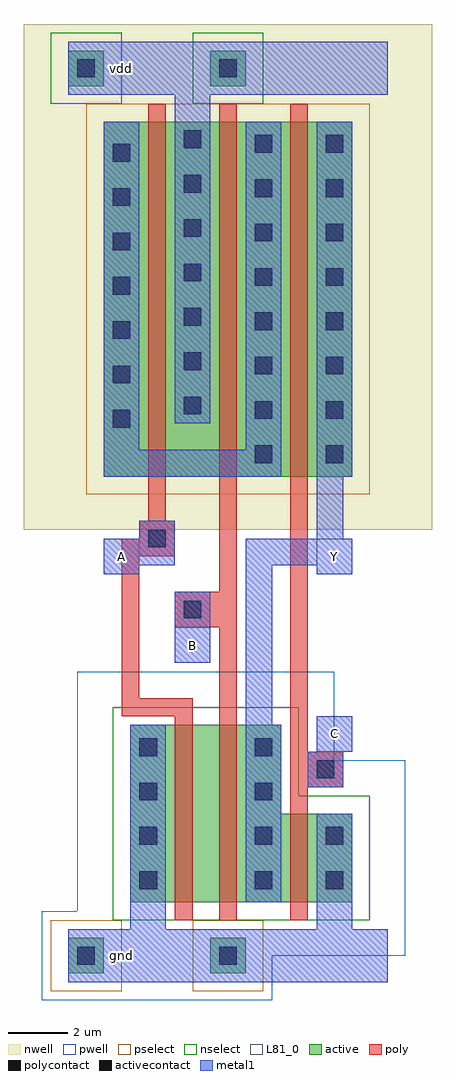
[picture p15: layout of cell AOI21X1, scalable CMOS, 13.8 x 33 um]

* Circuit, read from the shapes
.subckt AOI21X1 A B C Y gnd vdd
M1 n1 A gnd gnd nfet w=6u l=0.6u
M2 Y B n1 gnd nfet w=6u l=0.6u
M3 gnd C Y gnd nfet w=3u l=0.6u
M4 vdd A n2 vdd pfet w=12u l=0.6u
M5 n2 B vdd vdd pfet w=12u l=0.6u
M6 Y C n2 vdd pfet w=12u l=0.6u
.ends

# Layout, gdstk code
import gdstk
lib = gdstk.Library(unit=1e-6, precision=1e-09)
def R(c, l, rs):  # rectangles x0, y0, x1, y1
    for r in rs: c.add(gdstk.rectangle(r[:2], r[2:], *l))
def A(c, l, x, y, w, h, nx, ny, dx, dy):  # array of equal rectangles
    R(c, l, [(x+i*dx, y+j*dy, x+i*dx+w, y+j*dy+h) for i in range(nx) for j in range(ny)])
pwell = (41, 0)
nwell = (42, 0)
active = (43, 0)
pselect = (44, 0)
nselect = (45, 0)
poly = (46, 0)
polycontact = (47, 0)
activecontact = (48, 0)
metal1 = (49, 0)
L81_0 = (81, 0)

aoi21x1 = lib.new_cell('AOI21X1')
R(aoi21x1, pwell, [(-1.5,-1.5,6.3,0), (-1.5,0,10.8,1.5), (-0.3,1.5,10.8,6.6), (-0.3,6.6,8.4,9.6)])
R(aoi21x1, nwell, [(-2.1,14.4,11.7,31.5)])
R(aoi21x1, active, [(-0.6,-0.6,0.6,0.6), (4.2,-0.6,5.4,0.6), (1.5,1.8,9,4.8), (1.5,4.8,6.6,7.8), (0.6,16.2,9,28.2), (-0.6,29.4,0.6,30.6), (4.2,29.4,5.4,30.6)])
R(aoi21x1, pselect, [(-1.2,-1.2,1.2,1.2), (3.6,-1.2,6,1.2), (0,15.6,9.6,28.8)])
R(aoi21x1, nselect, [(0.9,1.2,9.6,5.4), (0.9,5.4,7.2,8.4), (-1.2,28.8,1.2,31.2), (3.6,28.8,6,31.2)])
R(aoi21x1, poly, [(3,1.2,3.6,8.1), (4.5,1.2,5.1,11.1), (6.9,1.2,7.5,5.7), (6.9,5.7,8.7,6.9), (6.9,6.9,7.5,28.8), (1.2,8.1,3.6,8.7), (1.2,8.7,1.8,13.5), (3,11.1,5.1,12.3), (4.5,12.3,5.1,28.8), (1.2,13.5,3,14.1), (1.8,14.1,3,14.7), (2.1,14.7,2.7,28.8)])
R(aoi21x1, polycontact, [(7.8,6,8.4,6.6), (3.3,11.4,3.9,12), (2.1,13.8,2.7,14.4)])
A(aoi21x1, activecontact, 1.8, 2.25, 0.6, 0.6, 1, 4, 0, 1.5)
A(aoi21x1, activecontact, 5.7, 2.25, 0.6, 0.6, 1, 4, 0, 1.5)
A(aoi21x1, activecontact, 5.7, 16.65, 0.6, 0.6, 1, 8, 0, 1.5)
A(aoi21x1, activecontact, 8.1, 16.65, 0.6, 0.6, 1, 8, 0, 1.5)
A(aoi21x1, activecontact, 0.9, 17.85, 0.6, 0.6, 1, 7, 0, 1.5)
A(aoi21x1, activecontact, 3.3, 18.3, 0.6, 0.6, 1, 7, 0, 1.5)
R(aoi21x1, activecontact, [(-0.3,-0.3,0.3,0.3), (4.5,-0.3,5.1,0.3), (8.1,2.25,8.7,2.85), (8.1,3.75,8.7,4.35), (-0.3,29.7,0.3,30.3), (4.5,29.7,5.1,30.3)])
R(aoi21x1, metal1, [(-0.6,-0.9,10.2,0.9), (1.5,0.9,2.7,7.8), (7.8,0.9,9,4.8), (5.4,1.8,6.6,7.8), (7.5,5.7,8.7,6.9), (7.8,6.9,9,8.1), (5.4,7.8,6.3,13.2), (3,9.9,4.2,12.3), (0.6,12.9,1.8,13.2), (7.8,12.9,9,13.2), (0.6,13.2,3,14.1), (5.4,13.2,9,14.1), (1.8,14.1,3,14.7), (7.8,14.1,8.7,16.2), (0.6,16.2,6.6,17.1), (7.8,16.2,9,28.2), (0.6,17.1,1.8,28.2), (5.4,17.1,6.6,28.2), (3,18,4.2,29.1), (-0.6,29.1,10.2,30.9)])
R(aoi21x1, L81_0, [(7.8,6.9,9,8.1), (3,9.9,4.2,11.1), (0.6,12.9,1.8,14.1), (7.8,12.9,9,14.1)])
aoi21x1.add(gdstk.Label('gnd', (1.2,0), layer=49, texttype=0))
aoi21x1.add(gdstk.Label('vdd', (1.2,30), layer=49, texttype=0))
aoi21x1.add(gdstk.Label('A', (1.2,13.5), layer=49, texttype=0))
aoi21x1.add(gdstk.Label('B', (3.6,10.5), layer=49, texttype=0))
aoi21x1.add(gdstk.Label('Y', (8.4,13.5), layer=49, texttype=0))
aoi21x1.add(gdstk.Label('C', (8.4,7.5), layer=49, texttype=0))

lib.write_gds('AOI21X1.gds')
